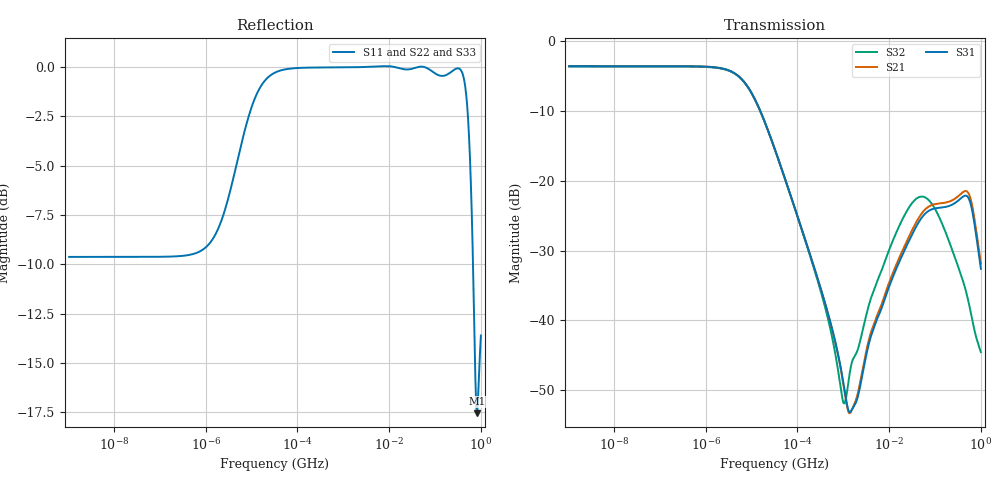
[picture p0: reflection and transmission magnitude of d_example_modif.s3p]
! NPort=3 DATA=451 NOISE=0 GROUPDELAY=0 COMPLEX_DATAFORMAT=POLAR
! NumOfBlock=1 NumOfParam=0
! .MODEL Smodel S TSTONEFILE=example_modif/d_example_modif.s3p TYPE=S
!  -- The above .MODEL line can be used for the S element in the netlist.
# Hz S MA R  0.1
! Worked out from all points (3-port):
!   450 points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, 1.047 Hz to 1 GHz, reference 0.1 ohm
!   strongest paths, dB at 1.047 Hz, 182 Hz, 33.11 kHz, 5.754 MHz, 1 GHz:
!     S31: -3.5, -3.5, -15.7, -39.4, -32.6
!     S21: -3.5, -3.5, -15.7, -38.9, -31.8
!     S32: -3.6, -3.6, -15.7, -34.0, -44.5
!   lowest |S11| = -17.5 dB at 831.8 MHz (marker M1), VSWR 1.31, Z = 0.0924 - j0.0246 ohm
!   |S11| at or under -10 dB: 673.4 MHz to end of sweep
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1.04713  0.3304 -180.0  0.6652 -0.0  0.6652 -0.0
         0.6652 -0.0  0.3268 -180.0  0.6616 -0.0
         0.6652 -0.0  0.6616 -0.0  0.3268 -180.0
3311.31  0.4792 -151.7  0.6173 -21.5  0.6173 -21.5
         0.6173 -21.5  0.4736 -151.7  0.614 -21.5
         0.6173 -21.5  0.614 -21.5  0.4737 -151.7
33113.1  0.9698 -170.5  0.1641 -74.9  0.1641 -74.9
         0.1641 -74.9  0.9582 -170.6  0.1632 -74.7
         0.1641 -74.9  0.1632 -74.7  0.9584 -170.6
1380380  0.9987 -179.9  0.002158 -15.0  0.002195 -19.0
         0.002158 -15.0  0.984 176.8  0.0042 32.2
         0.002195 -19.0  0.0042 32.2  0.9842 176.8
1.38038e7  0.9991 177.2  0.02445 59.0  0.02286 58.4
           0.02445 59.0  0.9581 149.4  0.04157 49.1
           0.02286 58.4  0.04157 49.1  0.9589 150.1
4.7863e7  1.002 172.5  0.05664 34.3  0.05281 34.1
          0.05664 34.3  0.9573 94.8  0.07708 -0.2
          0.05281 34.1  0.07708 -0.2  0.9581 96.0
4.16869e8  0.9447 102.3  0.08357 -37.0  0.07754 -37.1
           0.08357 -37.0  0.99 14.6  0.01871 -87.5
           0.07754 -37.1  0.01871 -87.5  0.9907 14.9
5.7544e8  0.5959 46.6  0.07728 -71.1  0.07146 -71.1
          0.07728 -71.1  0.9905 10.7  0.01222 -97.6
          0.07146 -71.1  0.01222 -97.6  0.9912 10.9
8.31764e8  0.1326 -99.9  0.03931 -106.2  0.03616 -105.9
           0.03931 -106.2  0.9928 7.4  0.007162 -95.9
           0.03616 -105.9  0.007162 -95.9  0.9932 7.6
1e9  0.2089 -164.0  0.02556 -112.5  0.02346 -111.9
     0.02556 -112.5  0.9934 6.2  0.005932 -94.1
     0.02346 -111.9  0.005932 -94.1  0.9937 6.3
